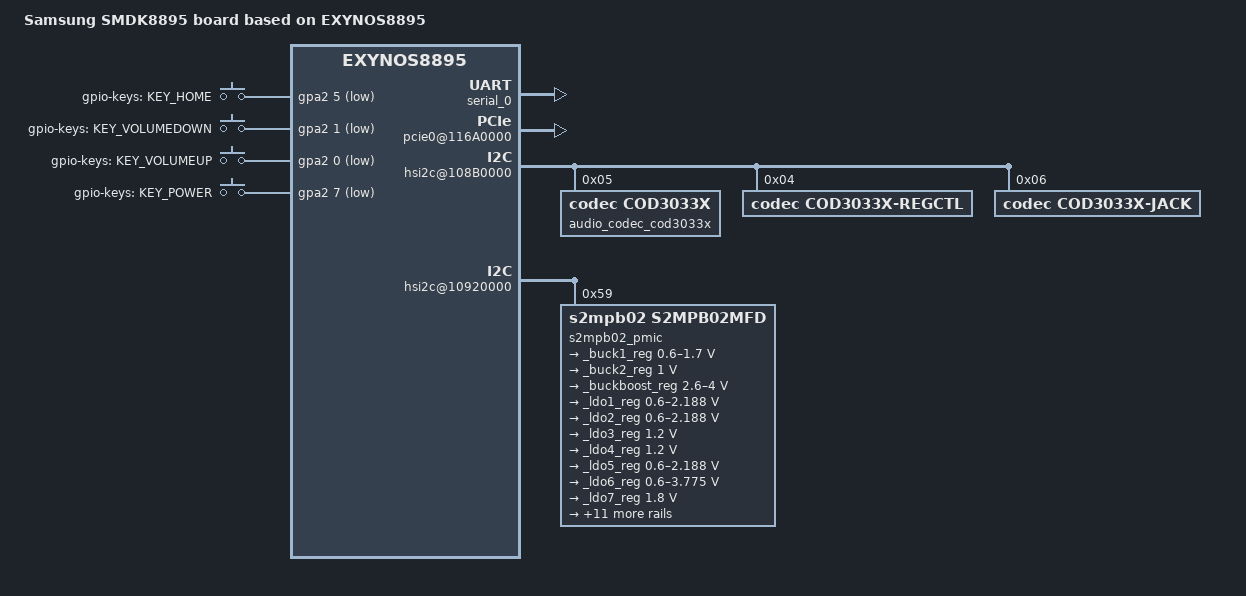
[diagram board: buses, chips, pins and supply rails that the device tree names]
/*
 * SAMSUNG EXYNOS8895 board device tree source
 *
 * Copyright (c) 2016 Samsung Electronics Co., Ltd.
 *		http://www.samsung.com
 *
 * This program is free software; you can redistribute it and/or modify
 * it under the terms of the GNU General Public License version 2 as
 * published by the Free Software Foundation.
*/

/dts-v1/;
#include "exynos8895.dtsi"
#include "exynos8895-rmem.dtsi"
#include "exynos8895-display-lcd.dtsi"
#include "modem-ss355ap-pdata.dtsi"

/ {
	model = "Samsung SMDK8895 board based on EXYNOS8895";
	compatible = "samsung,exynos8895", "samsung,SMDK8895";

	ect {
		parameter_address = <0x90000000>;
		parameter_size = <0x19000>;
	};

	memory@80000000 {
		device_type = "memory";
		reg = <0x0 0x80000000 0x80000000>;
	};

	memory@880000000 {
		device_type = "memory";
		reg = <0x00000008 0x80000000 0x80000000>;
	};

	chosen {
		bootargs = "console=ram root=/dev/ram0 clk_ignore_unused ess_setup=0x86000000 bcm_setup=0xffffff80f8e00000 androidboot.hardware=samsungexynos8895 androidboot.selinux=permissive androidboot.debug_level=0x4948 firmware_class.path=/vendor/firmware reserve-fimc=0xffffff80f9ffffff ecd_setup=normal";
		linux,initrd-start = <0x82000000>;
		linux,initrd-end = <0x820FFFFF>;
	};

	fixed-rate-clocks {
		oscclk {
			compatible = "samsung,exynos8895-oscclk";
			clock-frequency = <26000000>;
		};
	};

	serial_0: uart@10430000 {
		status = "okay";
	};

	usi_0: usi@10421000 {
		usi_mode = "hsi2c0";
		status = "okay";
	};

	usi_1: usi@10421004 {
		usi_mode = "hsi2c0";
		status = "okay";
	};

	usi_3: usi@1042100C {
		usi_mode = "spi";
		status = "okay";
	};

	usi_4: usi@10821008 {
		usi_mode = "spi";
		status = "okay";
	};

	usi_5: usi@1082100C {
		usi_mode = "spi";
		status = "okay";
	};

	usi_6: usi@10821010 {
		usi_mode = "spi";
		status = "okay";
	};

	usi_7: usi@10821014 {
		usi_mode = "hsi2c1";
		status = "okay";
	};

	usi_9: usi@1082101C {
		usi_mode = "hsi2c0";
		status = "okay";
	};

	usi_10: usi@10821020 {
		usi_mode = "hsi2c0_hsi2c1";
		status = "okay";
	};

	usi_11: usi@10821024 {
		usi_mode = "hsi2c0";
		status = "okay";
	};

	usi_12: usi@10821028 {
		usi_mode = "hsi2c0_hsi2c1";
		status = "okay";
	};

	usi_13: usi@1082102C {
		usi_mode = "hsi2c0_hsi2c1";
		status = "okay";
	};

	pinctrl@164B0000 {
		pmic_irq: pmic-irq {
			samsung,pins = "gpa0-2";
			samsung,pin-pud = <3>;
			samsung,pin-drv = <3>;
		};
		sub_pmic_irq: sub-pmic-irq {
			samsung,pins = "gpa0-6";
			samsung,pin-function = <0>;
			samsung,pin-pud = <0>;
			samsung,pin-drv = <0>;
		};
	};

	pinctrl@10980000 {
		/* Warm reset information from AP */
		pm_wrsti: pm-wrsti {
			samsung,pins = "gpe6-3";
			samsung,pin-con-pdn = <3>;
		};
	};

	pinctrl@104D0000 {
		g3d_dvs: g3d-dvs {
			samsung,pins = "gpb1-2";
			samsung,pin-function = <0x2>;
		};
	};

        pcie0@116A0000 {
                pcie,wlan-gpio = <&gpj1 3 0x1 /* WLAN_EN */ >;
                pcie,bt-gpio = <&gpe7 1 0x1 /* BT_EN */ >;
                status = "okay";
        };

	speedy@15B50000{
		status = "okay";
		s2mps17mfd@00 {
			compatible = "samsung,s2mps17mfd";
			acpm-ipc-channel = <2>;
			i2c-speedy-address;
			s2mps17,wakeup = "enabled";
			s2mps17,irq-gpio = <&gpa0 2 0>;
			reg = <0x00>;
			interrupts = <2 0 0>;
			interrupt-parent = <&gpa0>;
			pinctrl-names = "default";
			pinctrl-0 = <&pmic_irq &pm_wrsti &g3d_dvs>;
			gpios = <&gpb1 3 0>, <&gpb1 2 0x2>;
			smpl_warn_en = <1>; /* 1 : enable , 0 : disable*/
			/* range of smpl_warn_vth */
			/* 0x00 : 2.1V, 0x20 : 2.3V, 0x40 : 2.5V, 0x60 : 2.7V 0x80 : 2.9V */
			/* 0xA0 : 3.1V, 0xC0 : 3.3V, 0xE0 : 3.5V */
			smpl_warn_vth = <0x80>;
			/* LowBat_Hys[4:3] 00(100mV), 01(200mV), 10(300mV), 11(400mV) */
			smpl_warn_hys = <0x00>;
			adc_mode = <1>; /* 0 : disable, 1 : current meter, 2 : power meter */
			dvs_en = <0>; /* 1 : enable , 0 : disable */
			g3d_en = <1>; /* 1 : enable , 0 : disable */
			/* RTC: wtsr/smpl */
			wtsr_en = "enabled"; /* enable */
			smpl_en = "enabled"; /* enable */
			wtsr_timer_val = <3>;	/* 1000ms */
			smpl_timer_val = <4>;	/* 500ms */
			check_jigon = <0>; /* do not check jigon */
			/* RTC: If it's first boot, reset rtc to 1/1/2016 12:00:00(Wed) */
			init_time,sec = <0>;
			init_time,min = <0>;
			init_time,hour = <12>;
			init_time,mday = <1>;
			init_time,mon = <0>;
			init_time,year = <116>;
			init_time,wday = <5>;

			regulators {
				buck1_reg: BUCK1 {
					regulator-name = "vdd_mif";
					regulator-min-microvolt = <450000>;
					regulator-max-microvolt = <950000>;
					regulator-always-on;
					regulator-ramp-delay = <12000>;
					regulator-initial-mode = <2>;
				};
				buck2_reg: BUCK2 {
					regulator-name = "vdd_cpucl0";
					regulator-min-microvolt = <450000>;
					regulator-max-microvolt = <1200000>;
					regulator-always-on;
					regulator-ramp-delay = <12000>;
					regulator-initial-mode = <1>;
				};

				buck3_reg: BUCK3 {
					regulator-name = "vdd_cpucl1";
					regulator-min-microvolt = <450000>;
					regulator-max-microvolt = <1200000>;
					regulator-always-on;
					regulator-ramp-delay = <12000>;
					regulator-initial-mode = <1>;
				};

				buck4_reg: BUCK4{
					regulator-name = "vdd_int";
					regulator-min-microvolt = <450000>;
					regulator-max-microvolt = <950000>;
					regulator-always-on;
					regulator-ramp-delay = <12000>;
					regulator-initial-mode = <2>;
				};

				buck5_reg: BUCK5 {
					regulator-name = "vdd_cam";
					regulator-min-microvolt = <450000>;
					regulator-max-microvolt = <950000>;
					regulator-always-on;
					regulator-ramp-delay = <12000>;
					regulator-initial-mode = <2>;
				};

				buck6_reg: BUCK6 {
					regulator-name = "vdd_g3d";
					regulator-min-microvolt = <450000>;
					regulator-max-microvolt = <850000>;
					regulator-always-on;
					regulator-ramp-delay = <12000>;
					regulator-initial-mode = <2>;
				};

				buck7_reg: BUCK7 {
					regulator-name = "vdd_mem";
					regulator-min-microvolt = <900000>;
					regulator-max-microvolt = <1300000>;
					regulator-always-on;
					regulator-ramp-delay = <12000>;
					regulator-initial-mode = <3>;
				};

				buck8_reg: BUCK8 {
					regulator-name = "vdd_lldo1";
					regulator-min-microvolt = <750000>;
					regulator-max-microvolt = <1150000>;
					regulator-always-on;
					regulator-ramp-delay = <12000>;
					regulator-initial-mode = <3>;
				};

				buck9_reg: BUCK9 {
					regulator-name = "vdd_lldo2";
					regulator-min-microvolt = <1100000>;
					regulator-max-microvolt = <1500000>;
					regulator-always-on;
					regulator-ramp-delay = <12000>;
					regulator-initial-mode = <3>;
				};

				buck10_reg: BUCK10 {
					regulator-name = "vdd_lldo3";
					regulator-min-microvolt = <1100000>;
					regulator-max-microvolt = <1500000>;
					regulator-always-on;
					regulator-ramp-delay = <12000>;
					regulator-initial-mode = <3>;
				};

				buck11_reg: BUCK11 {
					regulator-name = "vdd_mldo";
					regulator-min-microvolt = <1750000>;
					regulator-max-microvolt = <2150000>;
					regulator-always-on;
					regulator-ramp-delay = <12000>;
					regulator-initial-mode = <3>;
				};

				buck12_reg: BUCK12 {
					regulator-name = "vdd_cp";
					regulator-min-microvolt = <450000>;
					regulator-max-microvolt = <950000>;
					regulator-always-on;
					regulator-ramp-delay = <12000>;
					regulator-initial-mode = <3>;
				};

				ldo1_reg: LDO1 {
					regulator-name = "vdd_ldo1";
					regulator-min-microvolt = <700000>;
					regulator-max-microvolt = <950000>;
					regulator-always-on;
					regulator-ramp-delay = <12000>;
					regulator-initial-mode = <3>;
				};

				ldo2_reg: LDO2 {
					regulator-name = "vqmmc";
					regulator-min-microvolt = <1700000>;
					regulator-max-microvolt = <3300000>;
					regulator-always-on;
					regulator-ramp-delay = <12000>;
					regulator-initial-mode = <2>;
				};

				ldo3_reg: LDO3 {
					regulator-name = "vdd_ldo3";
					regulator-min-microvolt = <1620000>;
					regulator-max-microvolt = <1980000>;
					regulator-always-on;
					regulator-ramp-delay = <12000>;
					regulator-initial-mode = <3>;
				};

				ldo4_reg: LDO4 {
					regulator-name = "vdd_ldo4";
					regulator-min-microvolt = <700000>;
					regulator-max-microvolt = <950000>;
					regulator-always-on;
					regulator-ramp-delay = <12000>;
					regulator-initial-mode = <2>;
				};

				ldo5_reg: LDO5 {
					regulator-name = "vdd_ldo5";
					regulator-min-microvolt = <1620000>;
					regulator-max-microvolt = <1980000>;
					regulator-always-on;
					regulator-ramp-delay = <12000>;
					regulator-initial-mode = <2>;
				};

				ldo6_reg: LDO6 {
					regulator-name = "vdd_ldo6";
					regulator-min-microvolt = <1700000>;
					regulator-max-microvolt = <3350000>;
					regulator-always-on;
					regulator-ramp-delay = <12000>;
					regulator-initial-mode = <2>;
				};

				ldo7_reg: LDO7 {
					regulator-name = "vdd_ldo7";
					regulator-min-microvolt = <450000>;
					regulator-max-microvolt = <1200000>;
					regulator-always-on;
					regulator-ramp-delay = <12000>;
					regulator-initial-mode = <1>;
				};

				ldo8_reg: LDO8 {
					regulator-name = "vdd_ldo8";
					regulator-min-microvolt = <450000>;
					regulator-max-microvolt = <950000>;
					regulator-always-on;
					regulator-ramp-delay = <12000>;
					regulator-initial-mode = <2>;
				};

				ldo9_reg: LDO9 {
					regulator-name = "vdd_ldo9";
					regulator-min-microvolt = <450000>;
					regulator-max-microvolt = <950000>;
					regulator-always-on;
					regulator-ramp-delay = <12000>;
					regulator-initial-mode = <1>;
				};

				ldo10_reg: LDO10 {
					regulator-name = "vdd_ldo10";
					regulator-min-microvolt = <700000>;
					regulator-max-microvolt = <950000>;
					regulator-always-on;
					regulator-ramp-delay = <12000>;
					regulator-initial-mode = <2>;
				};


				ldo11_reg: LDO11 {
					regulator-name = "vdd_ldo11";
					regulator-min-microvolt = <450000>;
					regulator-max-microvolt = <950000>;
					regulator-always-on;
					regulator-ramp-delay = <12000>;
					regulator-initial-mode = <2>;
				};

				ldo12_reg: LDO12 {
					regulator-name = "vdd_ldo12";
					regulator-min-microvolt = <450000>;
					regulator-max-microvolt = <950000>;
					regulator-always-on;
					regulator-ramp-delay = <12000>;
					regulator-initial-mode = <2>;
				};

				ldo13_reg: LDO13 {
					regulator-name = "vdd_ldo13";
					regulator-min-microvolt = <900000>;
					regulator-max-microvolt = <1300000>;
					regulator-always-on;
					regulator-ramp-delay = <12000>;
					regulator-initial-mode = <2>;
				};

				ldo20_reg: LDO20 {
					regulator-name = "vdd_ldo20";
					regulator-min-microvolt = <700000>;
					regulator-max-microvolt = <1300000>;
					regulator-ramp-delay = <12000>;
					regulator-initial-mode = <0>;
				};

				ldo29_reg: LDO29 {
					regulator-name = "vmmc";
					regulator-min-microvolt = <1800000>;
					regulator-max-microvolt = <3375000>;
					regulator-always-on;
					regulator-ramp-delay = <12000>;
					regulator-initial-mode = <2>;
				};

				ldo30_reg: LDO30 {
					regulator-name = "vdd_ldo30";
					regulator-min-microvolt = <1800000>;
					regulator-max-microvolt = <3375000>;
					regulator-always-on;
					regulator-ramp-delay = <12000>;
					regulator-initial-mode = <2>;
				};

				ldo31_reg: LDO31 {
					regulator-name = "vdd_ldo31";
					regulator-min-microvolt = <1800000>;
					regulator-max-microvolt = <3375000>;
					regulator-always-on;
					regulator-ramp-delay = <12000>;
					regulator-initial-mode = <2>;
				};

				ldo32_reg: LDO32 {
					regulator-name = "vdd_ldo32";
					regulator-min-microvolt = <700000>;
					regulator-max-microvolt = <2275000>;
					regulator-always-on;
					regulator-ramp-delay = <12000>;
					regulator-initial-mode = <2>;
				};

				ldo33_reg: LDO33 {
					regulator-name = "vdd_ldo33";
					regulator-min-microvolt = <700000>;
					regulator-max-microvolt = <1487500>;
					regulator-always-on;
					regulator-ramp-delay = <12000>;
					regulator-initial-mode = <2>;
				};

				ldo34_reg: LDO34 {
					regulator-name = "CAM_DOVDD_1V8";
					regulator-min-microvolt = <1800000>;
					regulator-max-microvolt = <1800000>;
					regulator-ramp-delay = <12000>;
					regulator-initial-mode = <2>;
				};

				ldo35_reg: LDO35 {
					regulator-name = "CAM0_VDD28_OIS";
					regulator-min-microvolt = <1800000>;
					regulator-max-microvolt = <3375000>;
					regulator-ramp-delay = <12000>;
					regulator-initial-mode = <2>;
				};

				ldo36_reg: LDO36 {
					regulator-name = "vdd_ldo36";
					regulator-min-microvolt = <1800000>;
					regulator-max-microvolt = <3375000>;
					regulator-always-on;
					regulator-ramp-delay = <12000>;
					regulator-initial-mode = <2>;
				};

				ldo37_reg: LDO37 {
					regulator-name = "vdd_ldo37";
					regulator-min-microvolt = <1800000>;
					regulator-max-microvolt = <3375000>;
					regulator-always-on;
					regulator-ramp-delay = <12000>;
					regulator-initial-mode = <2>;
				};

				ldo38_reg: LDO38 {
					regulator-name = "vdd_ldo38";
					regulator-min-microvolt = <700000>;
					regulator-max-microvolt = <2275000>;
					regulator-always-on;
					regulator-ramp-delay = <12000>;
					regulator-initial-mode = <2>;
				};

				ldo39_reg: LDO39 {
					regulator-name = "vdd_ldo39";
					regulator-min-microvolt = <700000>;
					regulator-max-microvolt = <2275000>;
					regulator-always-on;
					regulator-ramp-delay = <12000>;
					regulator-initial-mode = <2>;
				};

				ldo40_reg: LDO40 {
					regulator-name = "vdd_ldo40";
					regulator-min-microvolt = <700000>;
					regulator-max-microvolt = <1487500>;
					regulator-always-on;
					regulator-ramp-delay = <12000>;
					regulator-initial-mode = <2>;
				};

				ldo41_reg: LDO41 {
					regulator-name = "vdd_ldo41";
					regulator-min-microvolt = <1800000>;
					regulator-max-microvolt = <3375000>;
					regulator-always-on;
					regulator-ramp-delay = <12000>;
					regulator-initial-mode = <2>;
				};

				ldo42_reg: LDO42 {
					regulator-name = "vdd_ldo42";
					regulator-min-microvolt = <700000>;
					regulator-max-microvolt = <2275000>;
					regulator-always-on;
					regulator-ramp-delay = <12000>;
					regulator-initial-mode = <2>;
				};

				ldo43_reg: LDO43 {
					regulator-name = "vdd_ldo43";
					regulator-min-microvolt = <700000>;
					regulator-max-microvolt = <1300000>;
					regulator-ramp-delay = <12000>;
					regulator-initial-mode = <0>;
				};
			};
		};
	};

	hsi2c@108B0000 {
		status = "okay";
		audio_codec_cod3033x: cod3033x@05 {
			compatible = "codec,cod3033x";
			reg = <0x05>;
		};

		cod3033x-regctl@04 {
			compatible = "codec,cod3033x-regctl";
			reg = <0x04>;
		};

		cod3033x-jack@06 {
			compatible = "codec,cod3033x-jack";
			reg = <0x06>;
		};
	};

	exynos_rgt {
		compatible = "samsung,exynos-rgt";
	};

	hsi2c@10920000 {
		status = "okay";
		s2mpb02_pmic@59 {
			compatible = "s2mpb02,s2mpb02mfd";
			reg = <0x59>;

			s2mpb02,wakeup;
			pinctrl-names = "default";
			pinctrl-0 = <&sub_pmic_irq>;

			regulators {
				_buck1_reg: s2mpb02-buck1 {
					regulator-name = "S2MPB02_BUCK1";
					regulator-min-microvolt = <600000>;
					regulator-max-microvolt = <1700000>;
					regulator-always-on;
					regulator-boot-on;
				};

				_buck2_reg: s2mpb02-buck2 {
					regulator-name = "SVDD10";
					regulator-min-microvolt = <1000000>;
					regulator-max-microvolt = <1000000>;
				};

				_buckboost_reg: s2mpb02-bb {
					regulator-name = "S2MPB02_BB";
					regulator-min-microvolt = <2600000>;
					regulator-max-microvolt = <4000000>;
					regulator-always-on;
					regulator-boot-on;
				};

				_ldo1_reg: s2mpb02-ldo1 {
					regulator-name = "S2MPB02_LDO1";
					regulator-min-microvolt = <600000>;
					regulator-max-microvolt = <2187500>;
					regulator-always-on;
					regulator-boot-on;
				};

				_ldo2_reg: s2mpb02-ldo2 {
					regulator-name = "S2MPB02_LDO2";
					regulator-min-microvolt = <600000>;
					regulator-max-microvolt = <2187500>;
					regulator-always-on;
					regulator-boot-on;
				};

				_ldo3_reg: s2mpb02-ldo3 {
					regulator-name = "CAM_DVDD_1V2";
					regulator-min-microvolt = <1200000>;
					regulator-max-microvolt = <1200000>;
				};

				_ldo4_reg: s2mpb02-ldo4 {
					regulator-name = "SVDD12";
					regulator-min-microvolt = <1200000>;
					regulator-max-microvolt = <1200000>;
					regulator-always-on;
					regulator-boot-on;
				};

				_ldo5_reg: s2mpb02-ldo5 {
					regulator-name = "S2MPB02_LDO5";
					regulator-min-microvolt = <600000>;
					regulator-max-microvolt = <2187500>;
					regulator-always-on;
					regulator-boot-on;
				};

				_ldo6_reg: s2mpb02-ldo6 {
					regulator-name = "S2MPB02_LDO6";
					regulator-min-microvolt = <600000>;
					regulator-max-microvolt = <3775000>;
					regulator-always-on;
					regulator-boot-on;
				};

				_ldo7_reg: s2mpb02-ldo7 {
					regulator-name = "CAM0_SVDDD18";
					regulator-min-microvolt = <1800000>;
					regulator-max-microvolt = <1800000>;
				};

				_ldo8_reg: s2mpb02-ldo8 {
					regulator-name = "CAM1_SVDDD18";
					regulator-min-microvolt = <1800000>;
					regulator-max-microvolt = <1800000>;
				};

				_ldo9_reg: s2mpb02-ldo9 {
					regulator-min-microvolt = <1800000>;
					regulator-max-microvolt = <1800000>;
					regulator-always-on;
					regulator-boot-on;
				};

				_ldo10_reg: s2mpb02-ldo10 {
					regulator-name = "S2MPB02_LDO10";
					regulator-min-microvolt = <600000>;
					regulator-max-microvolt = <3775000>;
					regulator-always-on;
					regulator-boot-on;
				};

				_ldo11_reg: s2mpb02-ldo11 {
					regulator-min-microvolt = <2800000>;
					regulator-max-microvolt = <2800000>;
					regulator-always-on;
					regulator-boot-on;
				};

				_ldo12_reg: s2mpb02-ldo12 {
					regulator-name = "CAM0_VDD28_AF";
					regulator-min-microvolt = <2800000>;
					regulator-max-microvolt = <2800000>;
				};

				_ldo13_reg: s2mpb02-ldo13 {
					regulator-name = "CAM_AVDD_2V8";
					regulator-min-microvolt = <2800000>;
					regulator-max-microvolt = <2800000>;
				};

				_ldo14_reg: s2mpb02-ldo14 {
					regulator-min-microvolt = <2800000>;
					regulator-max-microvolt = <2800000>;
				};

				_ldo15_reg: s2mpb02-ldo15 {
					regulator-name = "CAM1_VDD28_AF";
					regulator-min-microvolt = <2800000>;
					regulator-max-microvolt = <2800000>;
				};

				_ldo16_reg: s2mpb02-ldo16 {
					regulator-name = "CAM0_SVDDA29";
					regulator-min-microvolt = <2900000>;
					regulator-max-microvolt = <2900000>;
				};

				_ldo17_reg: s2mpb02-ldo17 {
					regulator-name = "CAM1_SVDDA28";
					regulator-min-microvolt = <2800000>;
					regulator-max-microvolt = <2800000>;
				};

				_ldo18_reg: s2mpb02-ldo18 {
					regulator-min-microvolt = <600000>;
					regulator-max-microvolt = <3775000>;
					regulator-always-on;
					regulator-boot-on;
				};
			};

			torch {
				torch1-gpio = "gpc1-1";
				flash1-gpio = "gpc0-3";

				status = "okay";

				leds1 {
					ledname = "leds-sec1";
					id = <0>;
					brightness = <0xC>;
					timeout = <0x3>;
				};

				leds2 {
					ledname = "torch-sec1";
					id = <1>;
					brightness = <0xC>;
					timeout = <0xF>;
				};
			};
		};
	};

	pinctrl@164B0000 {
		key_power: key-power {
			samsung,pins = "gpa2-7";
			samsung,pin-function = <0xf>;
			samsung,pin-pud = <0>;
			samsung,pin-drv = <0>;
		};

		key_home: key-home {
			samsung,pins = "gpa2-5";
			samsung,pin-function = <0xf>;
			samsung,pin-pud = <0>;
			samsung,pin-drv = <0>;
		};

		key_voldown: key-voldown {
			samsung,pins = "gpa2-1";
			samsung,pin-function = <0xf>;
			samsung,pin-pud = <0>;
			samsung,pin-drv = <0>;
		};

		key_volup: key-volup {
			samsung,pins = "gpa2-0";
			samsung,pin-function = <0xf>;
			samsung,pin-pud = <0>;
			samsung,pin-drv = <0>;
		};

	};

	gpio_keys {
		status = "okay";
		compatible = "gpio-keys";
		#address-cells = <1>;
		#size-cells = <0>;
		pinctrl-names = "default";
		pinctrl-0 = <&key_home &key_voldown &key_volup &key_power>;
		button@1 {
			label = "gpio-keys: KEY_HOME";
			interrupts = <5 0 0>;
			interrupt-parent = <&gpa2>;
			linux,code = <172>;
			gpios = <&gpa2 5 0xf>;
			gpio-key,wakeup = <1>;
		};
		button@2 {
			label = "gpio-keys: KEY_VOLUMEDOWN";
			interrupts = <1 0 0>;
			interrupt-parent = <&gpa2>;
			linux,code = <114>;
			gpios = <&gpa2 1 0xf>;
		};
		button@3 {
			label = "gpio-keys: KEY_VOLUMEUP";
			interrupts = <0 0 0>;
			interrupt-parent = <&gpa2>;
			linux,code = <115>;
			gpios = <&gpa2 0 0xf>;
		};
		button@4 {
			label = "gpio-keys: KEY_POWER";
			interrupts = <7 0 0>;
			interrupt-parent = <&gpa2>;
			linux,code = <116>;
			gpios = <&gpa2 7 0xf>;
			gpio-key,wakeup = <1>;
		};

	};
};

#include "exynos8895-ecd.dtsi"
